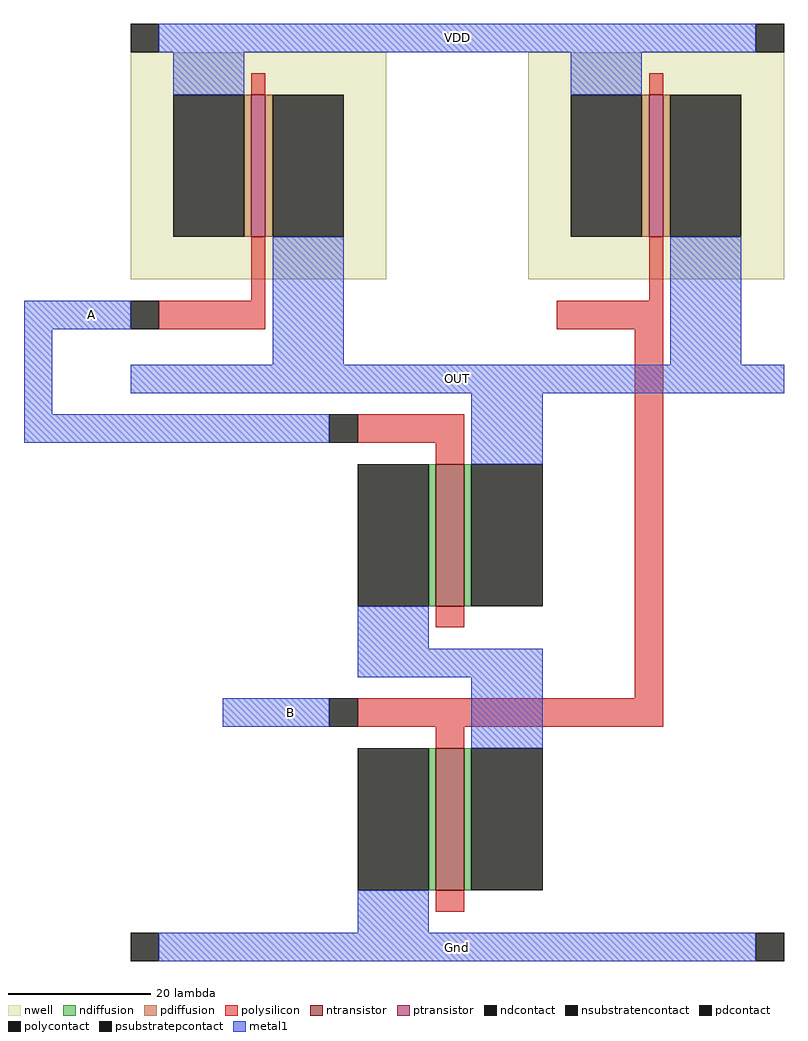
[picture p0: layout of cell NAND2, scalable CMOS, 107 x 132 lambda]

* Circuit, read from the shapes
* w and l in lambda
.subckt NAND2 A B Gnd OUT VDD
M1 n1 B Gnd Gnd nfet w=20 l=4
M2 OUT A n1 Gnd nfet w=20 l=4
M3 OUT A VDD n2 pfet w=20 l=2
M4 OUT B VDD n3 pfet w=20 l=2
.ends

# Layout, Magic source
magic
tech scmos
<< nwell >>
rect 0 0 36 32
rect 56 0 92 32
<< ntransistor >>
rect 43 -46 47 -26
rect 43 -86 47 -66
<< ptransistor >>
rect 17 6 19 26
rect 73 6 75 26
<< ndiffusion >>
rect 42 -46 43 -26
rect 47 -46 48 -26
rect 42 -86 43 -66
rect 47 -86 48 -66
<< pdiffusion >>
rect 16 6 17 26
rect 19 6 20 26
rect 72 6 73 26
rect 75 6 76 26
<< ndcontact >>
rect 32 -46 42 -26
rect 48 -46 58 -26
rect 32 -86 42 -66
rect 48 -86 58 -66
<< pdcontact >>
rect 6 6 16 26
rect 20 6 30 26
rect 62 6 72 26
rect 76 6 86 26
<< psubstratepcontact >>
rect 0 -96 4 -92
rect 88 -96 92 -92
<< nsubstratencontact >>
rect 0 32 4 36
rect 88 32 92 36
<< polysilicon >>
rect 17 26 19 29
rect 73 26 75 29
rect 17 -3 19 6
rect 73 -3 75 6
rect 4 -7 19 -3
rect 60 -7 75 -3
rect 32 -23 47 -19
rect 43 -26 47 -23
rect 43 -49 47 -46
rect 71 -59 75 -7
rect 32 -63 75 -59
rect 43 -66 47 -63
rect 43 -89 47 -86
<< polycontact >>
rect 0 -7 4 -3
rect 28 -23 32 -19
rect 28 -63 32 -59
<< metal1 >>
rect 4 32 88 36
rect 6 26 16 32
rect 62 26 72 32
rect -15 -7 0 -3
rect -15 -19 -11 -7
rect 20 -12 30 6
rect 76 -12 86 6
rect 0 -16 92 -12
rect -15 -23 28 -19
rect 48 -26 58 -16
rect 32 -52 42 -46
rect 32 -56 58 -52
rect 13 -63 28 -59
rect 48 -66 58 -56
rect 32 -92 42 -86
rect 4 -96 88 -92
<< labels >>
rlabel metal1 0 -96 92 -92 1 Gnd
rlabel metal1 0 -16 92 -12 1 OUT
rlabel metal1 0 32 92 36 5 VDD
rlabel metal1 -15 -7 4 -3 1 A
rlabel metal1 13 -63 32 -59 1 B
<< end >>
